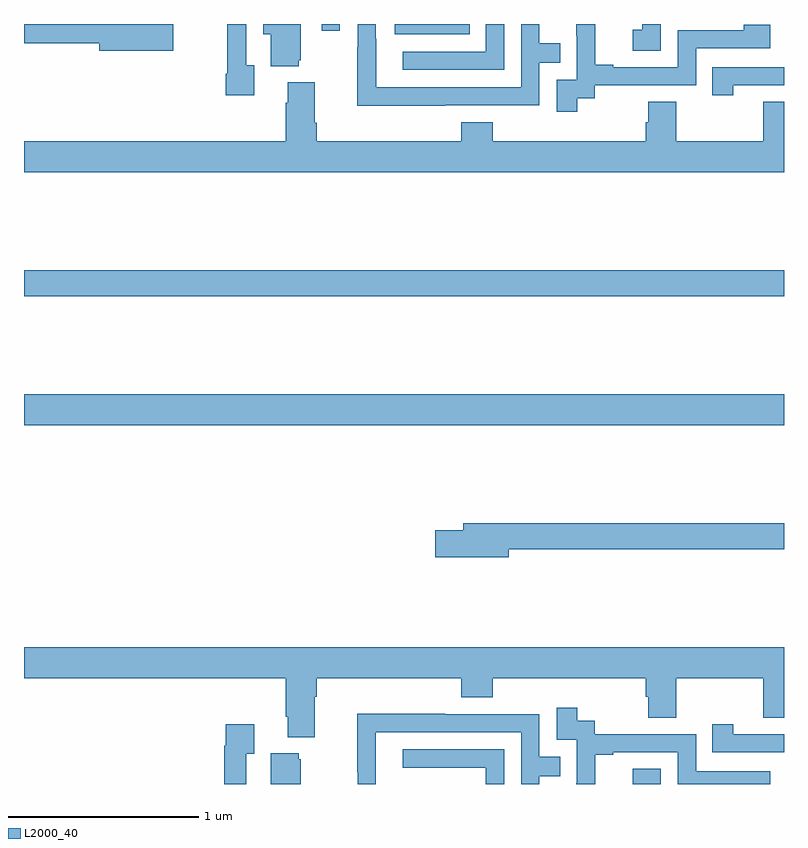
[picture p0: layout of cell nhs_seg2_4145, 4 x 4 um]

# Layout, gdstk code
import gdstk
lib = gdstk.Library(unit=1e-6, precision=1e-09)
def R(c, l, rs):  # rectangles x0, y0, x1, y1
    for r in rs: c.add(gdstk.rectangle(r[:2], r[2:], *l))
def P(c, l, *ps):  # polygons
    for p in ps: c.add(gdstk.Polygon(p, *l))
L2000_40 = (2000, 40)

nhs_seg2_4145 = lib.new_cell('nhs_seg2_4145')
R(nhs_seg2_4145, L2000_40, [(338.205,593.8,338.352,593.881), (335,595.688,339,595.852), (335,596.368,339,596.504), (336.95,597.746,337.346,597.8), (336.567,597.765,336.663,597.8)])
P(nhs_seg2_4145, L2000_40, [(338.352,597.8),(338.254,597.8),(338.254,597.769),(338.205,597.769),(338.205,597.66),(338.352,597.66)],
  [(337.912,597.409),(338.004,597.409),(338.004,597.477),(338.538,597.477),(338.538,597.672),(338.927,597.672),(338.927,597.795),(338.787,597.795),(338.787,597.768),(338.442,597.768),(338.442,597.573),(338.101,597.573),(338.101,597.586),(338.006,597.586),(338.006,597.8),(337.907,597.8),(337.907,597.737),(337.908,597.737),(337.908,597.507),(337.803,597.507),(337.803,597.339),(337.912,597.339)],
  [(335.785,597.8),(335,597.8),(335,597.7),(335.396,597.7),(335.396,597.658),(335.785,597.658)],
  [(336.211,597.582),(336.171,597.582),(336.171,597.8),(336.07,597.8),(336.07,597.538),(336.063,597.538),(336.063,597.426),(336.211,597.426)],
  [(337.217,597.372),(337.713,597.372),(337.713,597.597),(337.823,597.597),(337.823,597.698),(337.713,597.698),(337.713,597.8),(337.617,597.8),(337.617,597.468),(336.853,597.468),(336.853,597.722),(336.852,597.722),(336.852,597.8),(336.756,597.8),(336.756,597.677),(336.754,597.677),(336.754,597.371),(337.217,597.371)],
  [(336.446,597.609),(336.457,597.609),(336.457,597.8),(336.26,597.8),(336.26,597.746),(336.299,597.746),(336.299,597.578),(336.446,597.578)],
  [(337.527,597.8),(337.431,597.8),(337.431,597.654),(336.993,597.654),(336.993,597.558),(337.527,597.558)],
  [(338.734,597.477),(339,597.477),(339,597.573),(338.623,597.573),(338.623,597.426),(338.734,597.426)],
  [(339,597.392),(338.89,597.392),(338.89,597.184),(338.433,597.184),(338.433,597.392),(338.285,597.392),(338.285,597.282),(338.273,597.282),(338.273,597.184),(337.466,597.184),(337.466,597.283),(337.301,597.283),(337.301,597.184),(336.542,597.184),(336.542,597.28),(336.529,597.28),(336.529,597.493),(336.389,597.493),(336.389,597.386),(336.377,597.386),(336.377,597.184),(335,597.184),(335,597.02),(339,597.02)],
  [(337.552,595.036),(339,595.036),(339,595.172),(337.313,595.172),(337.313,595.136),(337.164,595.136),(337.164,594.994),(337.552,594.994)],
  [(336.529,594.26),(336.542,594.26),(336.542,594.356),(337.301,594.356),(337.301,594.257),(337.466,594.257),(337.466,594.356),(338.273,594.356),(338.273,594.258),(338.285,594.258),(338.285,594.148),(338.433,594.148),(338.433,594.356),(338.89,594.356),(338.89,594.148),(339,594.148),(339,594.52),(335,594.52),(335,594.356),(336.377,594.356),(336.377,594.154),(336.389,594.154),(336.389,594.047),(336.529,594.047)],
  [(338.006,593.955),(338.101,593.955),(338.101,593.967),(338.442,593.967),(338.442,593.8),(338.927,593.8),(338.927,593.868),(338.538,593.868),(338.538,594.063),(338.004,594.063),(338.004,594.132),(337.912,594.132),(337.912,594.202),(337.803,594.202),(337.803,594.033),(337.908,594.033),(337.908,593.804),(337.907,593.804),(337.907,593.8),(338.006,593.8)],
  [(336.852,594.072),(337.617,594.072),(337.617,593.8),(337.713,593.8),(337.713,593.842),(337.823,593.842),(337.823,593.943),(337.713,593.943),(337.713,594.168),(337.217,594.168),(337.217,594.17),(336.754,594.17),(336.754,593.863),(336.756,593.863),(336.756,593.8),(336.852,593.8)],
  [(339,594.063),(338.734,594.063),(338.734,594.115),(338.623,594.115),(338.623,593.967),(339,593.967)],
  [(336.171,593.959),(336.211,593.959),(336.211,594.115),(336.063,594.115),(336.063,594.002),(336.055,594.002),(336.055,593.8),(336.171,593.8)],
  [(337.527,593.982),(336.993,593.982),(336.993,593.886),(337.431,593.886),(337.431,593.8),(337.527,593.8)],
  [(336.457,593.931),(336.446,593.931),(336.446,593.962),(336.299,593.962),(336.299,593.8),(336.457,593.8)])

lib.write_gds('nhs_seg2_4145.gds')
